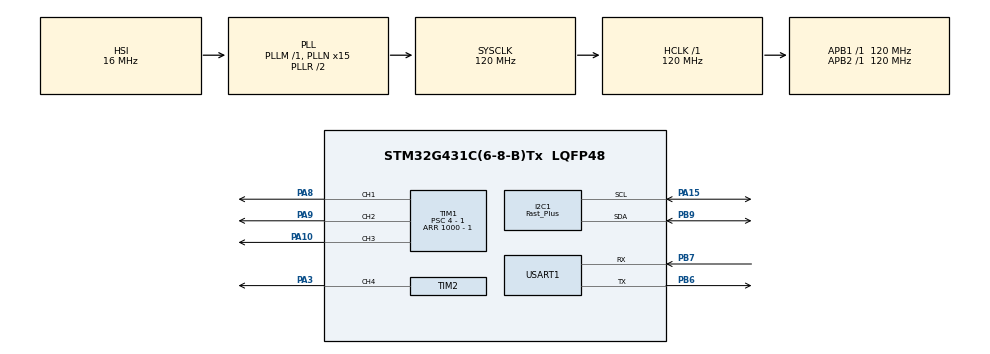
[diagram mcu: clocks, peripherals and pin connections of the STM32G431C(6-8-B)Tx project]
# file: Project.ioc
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Dma.Request0=USART1_RX
Dma.USART1_RX.0.Direction=DMA_PERIPH_TO_MEMORY
Dma.USART1_RX.0.EventEnable=DISABLE
Dma.USART1_RX.0.Instance=DMA1_Channel1
Dma.USART1_RX.0.MemDataAlignment=DMA_MDATAALIGN_BYTE
Dma.USART1_RX.0.MemInc=DMA_MINC_ENABLE
Dma.USART1_RX.0.Mode=DMA_CIRCULAR
Dma.USART1_RX.0.PeriphDataAlignment=DMA_PDATAALIGN_BYTE
Dma.USART1_RX.0.PeriphInc=DMA_PINC_DISABLE
Dma.USART1_RX.0.Polarity=HAL_DMAMUX_REQ_GEN_RISING
Dma.USART1_RX.0.Priority=DMA_PRIORITY_MEDIUM
Dma.USART1_RX.0.RequestNumber=1
Dma.USART1_RX.0.SignalID=NONE
Dma.USART1_RX.0.SyncEnable=DISABLE
Dma.USART1_RX.0.SyncPolarity=HAL_DMAMUX_SYNC_NO_EVENT
Dma.USART1_RX.0.SyncRequestNumber=1
Dma.USART1_RX.0.SyncSignalID=NONE
I2C1.I2C_Speed_Mode=I2C_Fast_Plus
I2C1.Timing=0x10820B1B
Mcu.Family=STM32G4
Mcu.Name=STM32G431C(6-8-B)Tx
Mcu.Package=LQFP48
NVIC.DMA1_Channel1_IRQn=true\:0\:0\:false\:false\:true\:false\:true\:true
NVIC.PriorityGroup=NVIC_PRIORITYGROUP_4
NVIC.USART1_IRQn=true\:0\:0\:false\:false\:true\:true\:true\:true
PA10.Signal=S_TIM1_CH3
PA13.Mode=Serial_Wire
PA13.Signal=SYS_JTMS-SWDIO
PA14.Mode=Serial_Wire
PA14.Signal=SYS_JTCK-SWCLK
PA15.Mode=I2C
PA15.Signal=I2C1_SCL
PA3.Signal=S_TIM2_CH4
PA8.Signal=S_TIM1_CH1
PA9.Signal=S_TIM1_CH2
PB6.Mode=Asynchronous
PB6.Signal=USART1_TX
PB7.Mode=Asynchronous
PB7.Signal=USART1_RX
PB9.Mode=I2C
PB9.Signal=I2C1_SDA
ProjectManager.HeapSize=0x200
ProjectManager.StackSize=0x400
ProjectManager.TargetToolchain=MDK-ARM V5.32
RCC.ADC12Freq_Value=120000000
RCC.AHBFreq_Value=120000000
RCC.APB1Freq_Value=120000000
RCC.APB1TimFreq_Value=120000000
RCC.APB2Freq_Value=120000000
RCC.APB2TimFreq_Value=120000000
RCC.CortexFreq_Value=120000000
RCC.EXTERNAL_CLOCK_VALUE=12288000
RCC.HCLKFreq_Value=120000000
RCC.HSE_VALUE=8000000
RCC.HSI48_VALUE=48000000
RCC.HSI_VALUE=16000000
RCC.LSE_VALUE=32768
RCC.PLLN=15
RCC.SYSCLKFreq_VALUE=120000000
RCC.SYSCLKSource=RCC_SYSCLKSOURCE_PLLCLK
RCC.USBFreq_Value=120000000
RCC.VCOOutputFreq_Value=240000000
SH.S_TIM1_CH1.0=TIM1_CH1,PWM Generation1 CH1
SH.S_TIM1_CH2.0=TIM1_CH2,PWM Generation2 CH2
SH.S_TIM1_CH3.0=TIM1_CH3,PWM Generation3 CH3
SH.S_TIM2_CH4.0=TIM2_CH4,PWM Generation4 CH4
TIM1.Channel-PWM\ Generation1\ CH1=TIM_CHANNEL_1
TIM1.Channel-PWM\ Generation2\ CH2=TIM_CHANNEL_2
TIM1.Channel-PWM\ Generation3\ CH3=TIM_CHANNEL_3
TIM1.PeriodNoDither=1000 - 1
TIM1.Prescaler=4 - 1
TIM2.Channel-PWM\ Generation4\ CH4=TIM_CHANNEL_4
TIM2.PeriodNoDither=1000 - 1
TIM2.Prescaler=120 - 1
USART1.VirtualMode-Asynchronous=VM_ASYNC
VP_SYS_VS_DBSignals.Mode=DisableDeadBatterySignals
VP_TIM1_VS_ClockSourceINT.Mode=Internal
VP_TIM2_VS_ClockSourceINT.Mode=Internal
board=custom

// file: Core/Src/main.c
/* USER CODE BEGIN Header */
/**
  ******************************************************************************
  * @file           : main.c
  * @brief          : Main program body
  位置闭环测试（自动回中）
  同时进行Id测试（测试单独施加Id是否会让转子产生力矩旋转，用于验证机械零点和电零点是否不重合）
  同时编写了对轴的程序，思路是在电角度为0的情况下单独给出Id让转子固定，然后记录编码器的角度作为偏置
  ******************************************************************************
  * @attention
  *
  * Copyright (c) 2026 STMicroelectronics.
  * All rights reserved.
  *
  * This software is licensed under terms that can be found in the LICENSE file
  * in the root directory of this software component.
  * If no LICENSE file comes with this software, it is provided AS-IS.
  *
  ******************************************************************************
  */
/* USER CODE END Header */
#include "main.h"
#include "dma.h"
#include "i2c.h"
#include "tim.h"
#include "usart.h"
#include "gpio.h"

/* USER CODE BEGIN Includes */
#include <math.h>
#include "Driver.h"
#include "Encoder.h"
#include "Serial.h"
#include "PID.h"
#include "Beep.h"

/* USER CODE END Includes */

/* USER CODE BEGIN PD */
#define PI_2_1 6.2831853f
/* USER CODE END PD */

void SystemClock_Config(void);

/* USER CODE BEGIN 0 */
float current_pos;  // 当前的角度（包含圈数）
PID pid_pos;  // 位置环
float target_pos = 0.0f;  // 目标位置为0

/* USER CODE END 0 */

int main(void)
{

  /* MCU Configuration--------------------------------------------------------*/

  /* Reset of all peripherals, Initializes the Flash interface and the Systick. */
  HAL_Init();

  /* Configure the system clock */
  SystemClock_Config();

  /* Initialize all configured peripherals */
  MX_GPIO_Init();
  MX_DMA_Init();
  MX_TIM1_Init();
  MX_I2C1_Init();
  MX_USART1_UART_Init();
  MX_TIM2_Init();
  /* USER CODE BEGIN 2 */
  Serial_Init();   // 初始化串口
  Driver_Init();
  Beep_Init();
  PID_Init(&pid_pos, 5.0f, 0.0f, 0.0f, 6.0f, 6.0f);  // 初始化PID模块

  // 对轴程序，耗时约1.2s，在此期间必须空载，否则会引入误差
  Encoder_Init();

  /* USER CODE END 2 */

  /* Infinite loop */
  /* USER CODE BEGIN WHILE */
  while (1)
  {
	  // 位置闭环
	  current_pos = Encoder_GetAngle();
	  PID_pos_Calc(&pid_pos, target_pos, current_pos);
	  Driver_SetRightangledVoltage(0.0f, pid_pos.output, fmod(current_pos, PI_2_1) * 7.0f);
//	  VOFA_SendData(current_pos, target_pos, pid_pos.output, 0.0f);

//	  // Id测试（对轴后完美通过！）
//	  current_pos = Encoder_GetAngle();
//	  Driver_SetRightangledVoltage(0.0f, 3.0f, fmod(current_pos, PI_2_1) * 7.0f);

    /* USER CODE END WHILE */

  }
}

void SystemClock_Config(void)
{
  RCC_OscInitTypeDef RCC_OscInitStruct = {0};
  RCC_ClkInitTypeDef RCC_ClkInitStruct = {0};

  /** Configure the main internal regulator output voltage
  */
  HAL_PWREx_ControlVoltageScaling(PWR_REGULATOR_VOLTAGE_SCALE1);

  /** Initializes the RCC Oscillators according to the specified parameters
  * in the RCC_OscInitTypeDef structure.
  */
  RCC_OscInitStruct.OscillatorType = RCC_OSCILLATORTYPE_HSI;
  RCC_OscInitStruct.HSIState = RCC_HSI_ON;
  RCC_OscInitStruct.HSICalibrationValue = RCC_HSICALIBRATION_DEFAULT;
  RCC_OscInitStruct.PLL.PLLState = RCC_PLL_ON;
  RCC_OscInitStruct.PLL.PLLSource = RCC_PLLSOURCE_HSI;
  RCC_OscInitStruct.PLL.PLLM = RCC_PLLM_DIV1;
  RCC_OscInitStruct.PLL.PLLN = 15;
  RCC_OscInitStruct.PLL.PLLP = RCC_PLLP_DIV2;
  RCC_OscInitStruct.PLL.PLLQ = RCC_PLLQ_DIV2;
  RCC_OscInitStruct.PLL.PLLR = RCC_PLLR_DIV2;
  if (HAL_RCC_OscConfig(&RCC_OscInitStruct) != HAL_OK)
  {
    Error_Handler();
  }

  /** Initializes the CPU, AHB and APB buses clocks
  */
  RCC_ClkInitStruct.ClockType = RCC_CLOCKTYPE_HCLK|RCC_CLOCKTYPE_SYSCLK
                              |RCC_CLOCKTYPE_PCLK1|RCC_CLOCKTYPE_PCLK2;
  RCC_ClkInitStruct.SYSCLKSource = RCC_SYSCLKSOURCE_PLLCLK;
  RCC_ClkInitStruct.AHBCLKDivider = RCC_SYSCLK_DIV1;
  RCC_ClkInitStruct.APB1CLKDivider = RCC_HCLK_DIV1;
  RCC_ClkInitStruct.APB2CLKDivider = RCC_HCLK_DIV1;

  if (HAL_RCC_ClockConfig(&RCC_ClkInitStruct, FLASH_LATENCY_3) != HAL_OK)
  {
    Error_Handler();
  }
}

void Error_Handler(void)
{
  __disable_irq();
  while (1)
  {
  }
}
